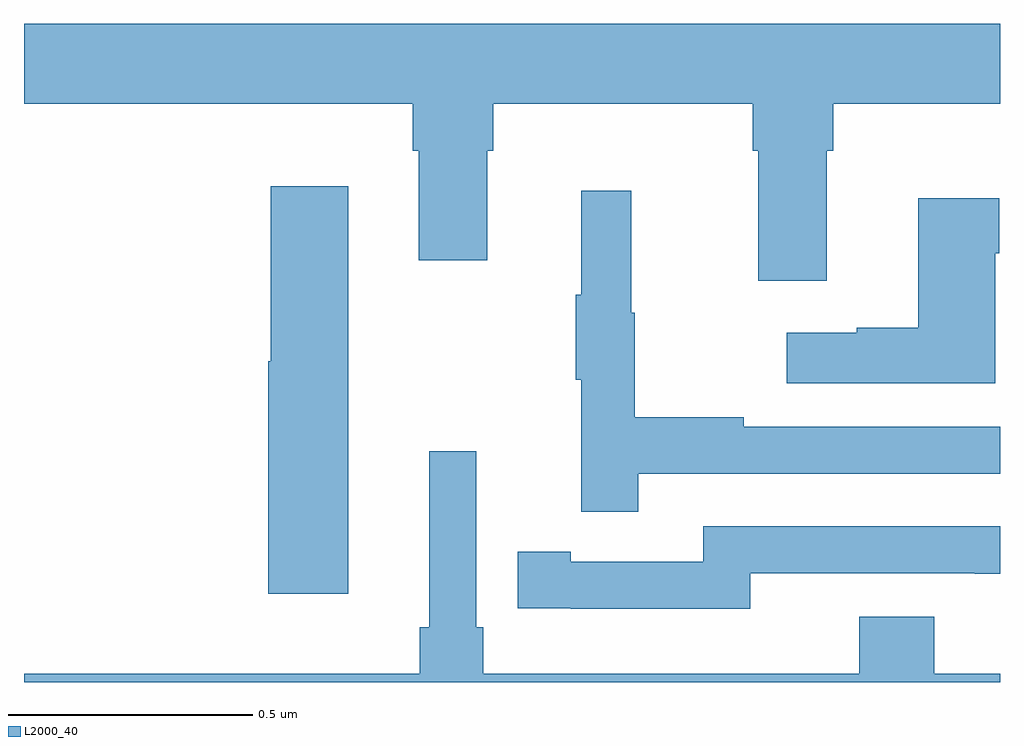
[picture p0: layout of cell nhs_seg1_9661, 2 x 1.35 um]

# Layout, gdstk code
import gdstk
lib = gdstk.Library(unit=1e-6, precision=1e-09)
def P(c, l, *ps):  # polygons
    for p in ps: c.add(gdstk.Polygon(p, *l))
L2000_40 = (2000, 40)

nhs_seg1_9661 = lib.new_cell('nhs_seg1_9661')
P(nhs_seg1_9661, L2000_40, [(232.645,566.288),(232.658,566.288),(232.658,566.384),(233,566.384),(233,566.548),(231,566.548),(231,566.384),(231.797,566.384),(231.797,566.288),(231.809,566.288),(231.809,566.064),(231.949,566.064),(231.949,566.288),(231.962,566.288),(231.962,566.384),(232.493,566.384),(232.493,566.288),(232.505,566.288),(232.505,566.022),(232.645,566.022)],
  [(231.664,566.215),(231.506,566.215),(231.506,565.857),(231.5,565.857),(231.5,565.38),(231.664,565.38)],
  [(232.259,565.626),(233,565.626),(233,565.722),(232.475,565.722),(232.475,565.742),(232.252,565.742),(232.252,565.956),(232.244,565.956),(232.244,566.206),(232.142,566.206),(232.142,565.993),(232.131,565.993),(232.131,565.819),(232.142,565.819),(232.142,565.548),(232.259,565.548)],
  [(232.99,566.078),(232.998,566.078),(232.998,566.191),(232.832,566.191),(232.832,565.925),(232.706,565.925),(232.706,565.915),(232.563,565.915),(232.563,565.811),(232.99,565.811)],
  [(233,565.216),(232.865,565.216),(232.865,565.333),(232.712,565.333),(232.712,565.216),(231.941,565.216),(231.941,565.312),(231.927,565.312),(231.927,565.672),(231.83,565.672),(231.83,565.312),(231.811,565.312),(231.811,565.216),(231,565.216),(231,565.199),(233,565.199)],
  [(232.488,565.422),(232.948,565.422),(232.948,565.421),(233,565.421),(233,565.518),(232.392,565.518),(232.392,565.446),(232.12,565.446),(232.12,565.466),(232.012,565.466),(232.012,565.35),(232.12,565.35),(232.12,565.349),(232.488,565.349)])

lib.write_gds('nhs_seg1_9661.gds')
